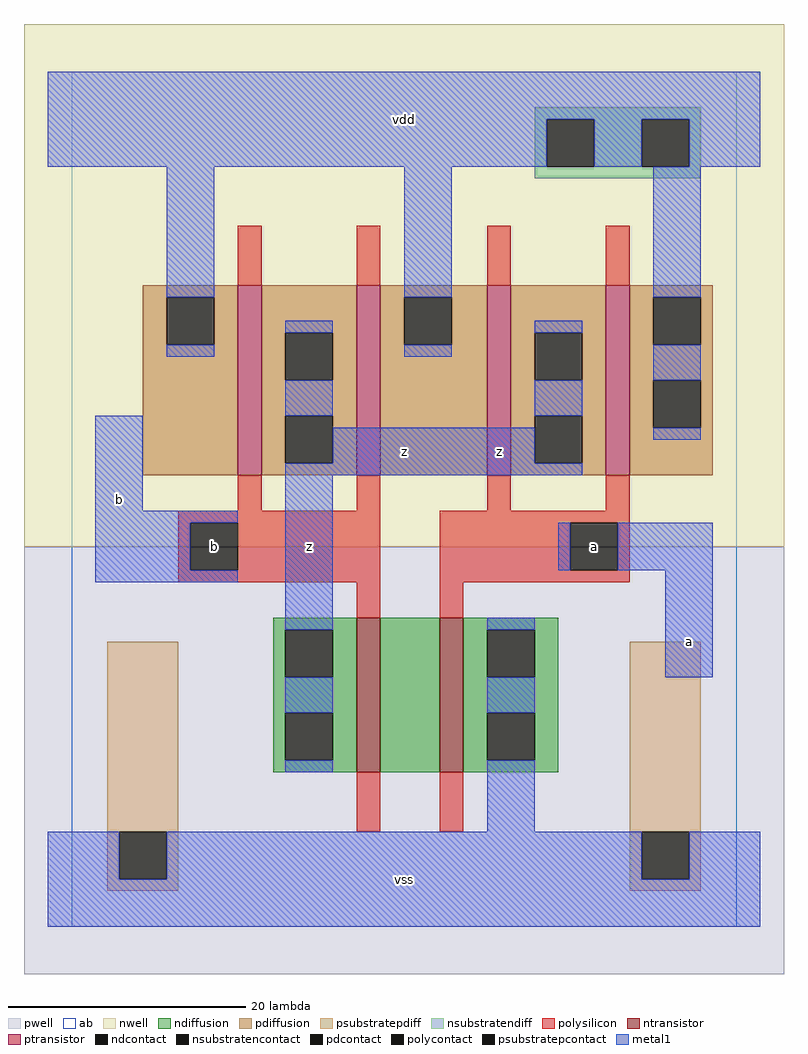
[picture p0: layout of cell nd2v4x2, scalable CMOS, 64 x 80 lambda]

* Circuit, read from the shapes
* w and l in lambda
.subckt nd2v4x2 a b vdd vss z
M1 n1 b z vss nfet w=13 l=2
M2 vss a n1 vss nfet w=13 l=2
M3 z b vdd vdd pfet w=16 l=2 m=2
M4 z a vdd vdd pfet w=16 l=2 m=2
.ends

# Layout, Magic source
magic
tech scmos
<< ab >>
rect 0 0 56 72
<< pwell >>
rect -4 -4 60 32
<< nwell >>
rect -4 32 60 76
<< polysilicon >>
rect 14 54 16 59
rect 24 54 26 59
rect 35 54 37 59
rect 45 54 47 59
rect 14 35 16 38
rect 24 35 26 38
rect 35 35 37 38
rect 45 35 47 38
rect 9 34 26 35
rect 9 30 10 34
rect 14 30 26 34
rect 9 29 26 30
rect 24 26 26 29
rect 31 34 47 35
rect 31 30 42 34
rect 46 30 47 34
rect 31 29 47 30
rect 31 26 33 29
rect 24 8 26 13
rect 31 8 33 13
<< ndiffusion >>
rect 17 25 24 26
rect 17 21 18 25
rect 22 21 24 25
rect 17 18 24 21
rect 17 14 18 18
rect 22 14 24 18
rect 17 13 24 14
rect 26 13 31 26
rect 33 25 41 26
rect 33 21 35 25
rect 39 21 41 25
rect 33 18 41 21
rect 33 14 35 18
rect 39 14 41 18
rect 33 13 41 14
<< pdiffusion >>
rect 6 53 14 54
rect 6 49 8 53
rect 12 49 14 53
rect 6 38 14 49
rect 16 50 24 54
rect 16 46 18 50
rect 22 46 24 50
rect 16 43 24 46
rect 16 39 18 43
rect 22 39 24 43
rect 16 38 24 39
rect 26 53 35 54
rect 26 49 28 53
rect 32 49 35 53
rect 26 38 35 49
rect 37 50 45 54
rect 37 46 39 50
rect 43 46 45 50
rect 37 43 45 46
rect 37 39 39 43
rect 43 39 45 43
rect 37 38 45 39
rect 47 53 54 54
rect 47 49 49 53
rect 53 49 54 53
rect 47 46 54 49
rect 47 42 49 46
rect 53 42 54 46
rect 47 38 54 42
<< metal1 >>
rect -2 68 58 72
rect -2 64 40 68
rect 44 64 48 68
rect 52 64 58 68
rect 8 53 12 64
rect 28 53 32 64
rect 8 48 12 49
rect 18 50 22 51
rect 49 53 53 64
rect 28 48 32 49
rect 39 50 43 51
rect 18 43 22 46
rect 2 35 6 43
rect 39 43 43 46
rect 22 39 39 42
rect 49 46 53 49
rect 49 41 53 42
rect 18 38 43 39
rect 2 34 14 35
rect 2 30 10 34
rect 2 29 14 30
rect 18 25 22 38
rect 41 30 42 34
rect 46 30 54 34
rect 18 18 22 21
rect 18 13 22 14
rect 35 25 39 26
rect 50 21 54 30
rect 35 18 39 21
rect 35 8 39 14
rect -2 4 4 8
rect 8 4 48 8
rect 52 4 58 8
rect -2 0 58 4
<< ntransistor >>
rect 24 13 26 26
rect 31 13 33 26
<< ptransistor >>
rect 14 38 16 54
rect 24 38 26 54
rect 35 38 37 54
rect 45 38 47 54
<< polycontact >>
rect 10 30 14 34
rect 42 30 46 34
<< ndcontact >>
rect 18 21 22 25
rect 18 14 22 18
rect 35 21 39 25
rect 35 14 39 18
<< pdcontact >>
rect 8 49 12 53
rect 18 46 22 50
rect 18 39 22 43
rect 28 49 32 53
rect 39 46 43 50
rect 39 39 43 43
rect 49 49 53 53
rect 49 42 53 46
<< psubstratepcontact >>
rect 4 4 8 8
rect 48 4 52 8
<< nsubstratencontact >>
rect 40 64 44 68
rect 48 64 52 68
<< psubstratepdiff >>
rect 3 8 9 24
rect 47 8 53 24
rect 3 4 4 8
rect 8 4 9 8
rect 3 3 9 4
rect 47 4 48 8
rect 52 4 53 8
rect 47 3 53 4
<< nsubstratendiff >>
rect 39 68 53 69
rect 39 64 40 68
rect 44 64 48 68
rect 52 64 53 68
rect 39 63 53 64
<< labels >>
rlabel metal1 4 36 4 36 6 b
rlabel polycontact 12 32 12 32 6 b
rlabel metal1 20 32 20 32 6 z
rlabel metal1 28 4 28 4 6 vss
rlabel metal1 36 40 36 40 6 z
rlabel metal1 28 40 28 40 6 z
rlabel metal1 28 68 28 68 6 vdd
rlabel polycontact 44 32 44 32 6 a
rlabel metal1 52 24 52 24 6 a
<< end >>
